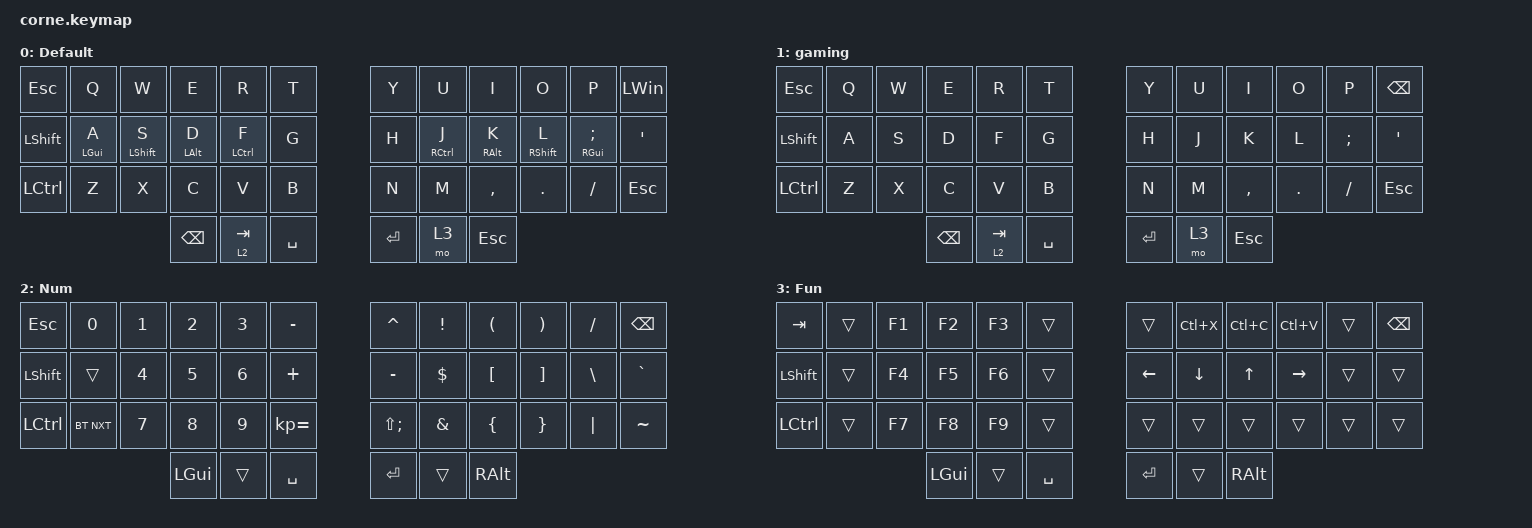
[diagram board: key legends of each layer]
/*
 * Copyright (c) 2020 The ZMK Contributors
 *
 * SPDX-License-Identifier: MIT
 */

#include <behaviors.dtsi>
#include <dt-bindings/zmk/bt.h>
#include <dt-bindings/zmk/keys.h>

/ {
    combos {
        compatible = "zmk,combos";

        layer4 {
            bindings = <&tog 1>;
            key-positions = <37 40>;
        };
    };

    behaviors {
        hmr: hmr {
            compatible = "zmk,behavior-hold-tap";
            label = "HMR";
            bindings = <&kp>, <&kp>;

            #binding-cells = <2>;
            tapping-term-ms = <280>;
            quick-tap-ms = <180>;
            require-prior-idle-ms = <150>;
            flavor = "balanced";
            hold-trigger-on-release;
        };
    };

    keymap {
        compatible = "zmk,keymap";

        default_layer {
            // -----------------------------------------------------------------------------------------
            // |  TAB |  Q  |  W  |  E  |  R  |  T  |   |  Y  |  U   |  I  |  O  |  P  | BKSP |
            // | CTRL |  A  |  S  |  D  |  F  |  G  |   |  H  |  J   |  K  |  L  |  ;  |  '   |
            // | SHFT |  Z  |  X  |  C  |  V  |  B  |   |  N  |  M   |  ,  |  .  |  /  | ESC  |
            //                    | GUI | LWR | SPC |   | ENT | RSE  | ALT |

            display-name = "Default";
            bindings = <
&kp ESCAPE        &kp Q        &kp W          &kp E          &kp R                &kp T        &kp Y    &kp U                 &kp I        &kp O          &kp P           &kp LEFT_WIN
&kp LEFT_SHIFT    &hmr LGUI A  &hmr LSHIFT S  &hmr LALT D    &hmr LEFT_CONTROL F  &kp G        &kp H    &hmr RIGHT_CONTROL J  &hmr RALT K  &hmr RSHIFT L  &hmr RGUI SEMI  &kp SQT
&kp LEFT_CONTROL  &kp Z        &kp X          &kp C          &kp V                &kp B        &kp N    &kp M                 &kp COMMA    &kp DOT        &kp FSLH        &kp ESC
                                              &kp BACKSPACE  &lt 2 TAB            &kp SPACE    &kp RET  &mo 3                 &kp ESC
            >;
        };

        gaming {
            display-name = "gaming";
            bindings = <
&kp ESCAPE        &kp Q  &kp W  &kp E          &kp R      &kp T        &kp Y    &kp U  &kp I      &kp O    &kp P     &kp BACKSPACE
&kp LEFT_SHIFT    &kp A  &kp S  &kp D          &kp F      &kp G        &kp H    &kp J  &kp K      &kp L    &kp SEMI  &kp SQT
&kp LEFT_CONTROL  &kp Z  &kp X  &kp C          &kp V      &kp B        &kp N    &kp M  &kp COMMA  &kp DOT  &kp FSLH  &kp ESC
                                &kp BACKSPACE  &lt 2 TAB  &kp SPACE    &kp RET  &mo 3  &kp ESC
            >;
        };

        raise_layer {
            // -----------------------------------------------------------------------------------------
            // |  TAB |  !  |  @  |  #  |  $  |  %  |   |  ^  |  &  |  *  |  (  |  )  | BKSP |
            // | CTRL |     |     |     |     |     |   |  -  |  =  |  [  |  ]  |  \  |  `   |
            // | SHFT |     |     |     |     |     |   |  _  |  +  |  {  |  }  | "|" |  ~   |
            //                    | GUI |     | SPC |   | ENT |     | ALT |

            display-name = "Num";
            bindings = <
&kp ESCAPE        &kp N0      &kp N1  &kp N2        &kp N3  &kp MINUS       &kp CARET          &kp EXCLAMATION  &kp LEFT_PARENTHESIS  &kp RIGHT_PARENTHESIS  &kp SLASH  &kp BSPC
&kp LEFT_SHIFT    &trans      &kp N4  &kp N5        &kp N6  &kp PLUS        &kp MINUS          &kp DOLLAR       &kp LEFT_BRACKET      &kp RIGHT_BRACKET      &kp BSLH   &kp GRAVE
&kp LEFT_CONTROL  &bt BT_NXT  &kp N7  &kp NUMBER_8  &kp N9  &kp KP_EQUAL    &kp LS(SEMICOLON)  &kp AMPS         &kp LBRC              &kp RBRC               &kp PIPE   &kp TILDE
                                      &kp LGUI      &trans  &kp SPACE       &kp RET            &trans           &kp RALT
            >;
        };

        lower_layer {
            // -----------------------------------------------------------------------------------------
            // |  TAB |  1  |  2  |  3  |  4  |  5  |   |  6  |  7  |  8  |  9  |  0  | BKSP |
            // | BTCLR| BT1 | BT2 | BT3 | BT4 | BT5 |   | LFT | DWN |  UP | RGT |     |      |
            // | SHFT |     |     |     |     |     |   |     |     |     |     |     |      |
            //                    | GUI |     | SPC |   | ENT |     | ALT |

            display-name = "Fun";
            bindings = <
&kp TAB           &trans  &kp F1  &kp F2    &kp F3  &trans       &trans    &kp LC(X)  &kp LC(C)  &kp LC(V)  &trans  &kp BSPC
&kp LEFT_SHIFT    &trans  &kp F4  &kp F5    &kp F6  &trans       &kp LEFT  &kp DOWN   &kp UP     &kp RIGHT  &trans  &trans
&kp LEFT_CONTROL  &trans  &kp F7  &kp F8    &kp F9  &trans       &trans    &trans     &trans     &trans     &trans  &trans
                                  &kp LGUI  &trans  &kp SPACE    &kp RET   &trans     &kp RALT
            >;
        };
    };
};
